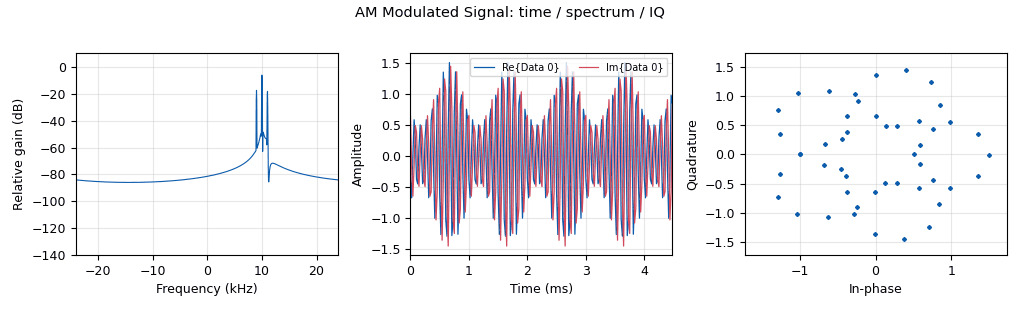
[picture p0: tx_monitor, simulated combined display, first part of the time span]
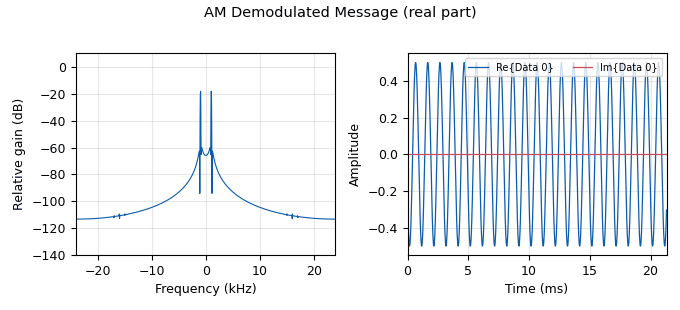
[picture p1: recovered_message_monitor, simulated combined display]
options:
  parameters:
    author: Mohit Sharma
    category: '[Custom]'
    comment: Software-only AM transmitter and envelope-detector receiver with time/spectrum visualization.
    description: Software-only AM transmitter and envelope-detector receiver with time/spectrum visualization.
    generate_options: qt_gui
    id: am_mod_demod_lab
    output_language: python
    placement: (0, 0)
    title: AM Modulation & Envelope Demodulation Lab
  states: {}

blocks:
- name: fs
  id: variable
  parameters:
    value: '48000'
    comment: Audio/baseband sample rate in samples per second.
  states: {}
- name: mod_depth
  id: variable
  parameters:
    value: '0.5'
    comment: AM modulation depth; keep <= 1 to avoid overmodulation.
  states: {}
- name: message
  id: analog_sig_source_x
  parameters:
    type: float
    waveform: analog.GR_COS_WAVE
    samp_rate: fs
    freq: '1000'
    amp: mod_depth
    offset: '0'
    phase: '0'
  states: {}
- name: carrier_level
  id: analog_const_source_x
  parameters:
    type: float
    const: '1.0'
  states: {}
- name: envelope
  id: blocks_add_xx
  parameters:
    type: float
  states: {}
- name: envelope_to_complex
  id: blocks_float_to_complex
  parameters: {}
  states: {}
- name: carrier
  id: analog_sig_source_x
  parameters:
    type: complex
    waveform: analog.GR_COS_WAVE
    samp_rate: fs
    freq: '10000'
    amp: '1'
    offset: '0'
    phase: '0'
  states: {}
- name: am_modulator
  id: blocks_multiply_xx
  parameters:
    type: complex
  states: {}
- name: throttle
  id: blocks_throttle2
  parameters:
    comment: Software-only sample rate limiter; no RF hardware.
    samples_per_second: fs
    type: complex
  states: {}
- name: tx_monitor
  id: qtgui_sink_x
  parameters:
    comment: Complex AM signal after modulation.
    bw: fs
    fc: '0'
    fftsize: '1024'
    name: '''AM Modulated Signal: time / spectrum / IQ'''
    type: complex
    wintype: window.WIN_HAMMING
  states: {}
- name: envelope_detector
  id: blocks_complex_to_mag
  parameters: {}
  states: {}
- name: remove_carrier_level
  id: blocks_add_const_vxx
  parameters:
    const: '-1.0'
    type: float
  states: {}
- name: recovered_to_complex
  id: blocks_float_to_complex
  parameters: {}
  states: {}
- name: recovered_message_monitor
  id: qtgui_sink_x
  parameters:
    comment: Envelope-detected message, displayed on the real axis.
    bw: fs
    fc: '0'
    fftsize: '1024'
    name: '''AM Demodulated Message (real part)'''
    plotconst: 'False'
    plotwaterfall: 'False'
    type: complex
    wintype: window.WIN_HAMMING
  states: {}

connections:
- [message, '0', envelope, '0']
- [carrier_level, '0', envelope, '1']
- [envelope, '0', envelope_to_complex, '0']
- [envelope_to_complex, '0', am_modulator, '0']
- [carrier, '0', am_modulator, '1']
- [am_modulator, '0', throttle, '0']
- [throttle, '0', tx_monitor, '0']
- [throttle, '0', envelope_detector, '0']
- [envelope_detector, '0', remove_carrier_level, '0']
- [remove_carrier_level, '0', recovered_to_complex, '0']
- [recovered_to_complex, '0', recovered_message_monitor, '0']

metadata:
  file_format: 1
  grc_version: 3.10.12.0
